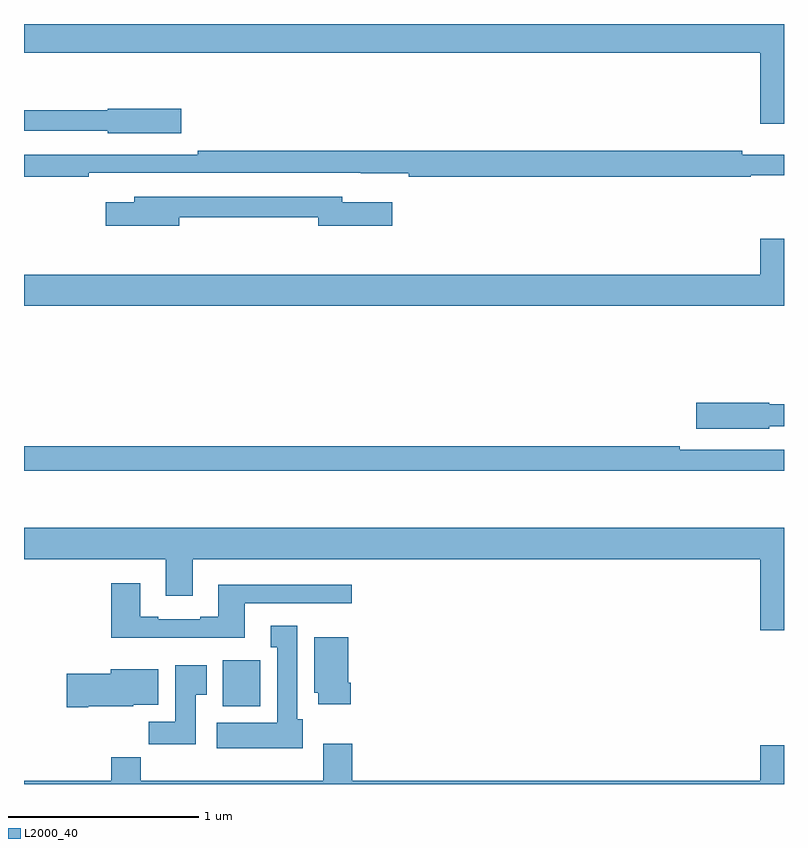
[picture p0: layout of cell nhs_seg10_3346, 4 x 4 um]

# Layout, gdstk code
import gdstk
lib = gdstk.Library(unit=1e-6, precision=1e-09)
def R(c, l, rs):  # rectangles x0, y0, x1, y1
    for r in rs: c.add(gdstk.rectangle(r[:2], r[2:], *l))
def P(c, l, *ps):  # polygons
    for p in ps: c.add(gdstk.Polygon(p, *l))
L2000_40 = (2000, 40)

nhs_seg10_3346 = lib.new_cell('nhs_seg10_3346')
R(nhs_seg10_3346, L2000_40, [(294.047,1264.91,294.244,1265.152)])
P(nhs_seg10_3346, L2000_40, [(297,1268.5),(293,1268.5),(293,1268.348),(296.876,1268.348),(296.876,1267.974),(297,1267.974)],
  [(293.827,1268.055),(293.442,1268.055),(293.442,1268.047),(293,1268.047),(293,1267.938),(293.442,1267.938),(293.442,1267.925),(293.827,1267.925)],
  [(293.342,1267.716),(294.772,1267.716),(294.772,1267.715),(295.024,1267.715),(295.024,1267.696),(296.824,1267.696),(296.824,1267.704),(297,1267.704),(297,1267.813),(296.78,1267.813),(296.78,1267.832),(293.914,1267.832),(293.914,1267.812),(293,1267.812),(293,1267.696),(293.342,1267.696)],
  [(293.818,1267.482),(294.548,1267.482),(294.548,1267.439),(294.937,1267.439),(294.937,1267.561),(294.676,1267.561),(294.676,1267.59),(293.579,1267.59),(293.579,1267.561),(293.43,1267.561),(293.43,1267.439),(293.818,1267.439)],
  [(297,1267.369),(296.876,1267.369),(296.876,1267.18),(293,1267.18),(293,1267.016),(297,1267.016)],
  [(296.922,1266.384),(297,1266.384),(297,1266.5),(296.922,1266.5),(296.922,1266.506),(296.538,1266.506),(296.538,1266.371),(296.922,1266.371)],
  [(297,1266.258),(296.45,1266.258),(296.45,1266.278),(293,1266.278),(293,1266.15),(297,1266.15)],
  [(297,1265.848),(293,1265.848),(293,1265.684),(293.747,1265.684),(293.747,1265.49),(293.887,1265.49),(293.887,1265.684),(296.876,1265.684),(296.876,1265.31),(297,1265.31)],
  [(294.163,1265.451),(294.724,1265.451),(294.724,1265.548),(294.023,1265.548),(294.023,1265.38),(293.927,1265.38),(293.927,1265.367),(293.707,1265.367),(293.707,1265.38),(293.611,1265.38),(293.611,1265.557),(293.459,1265.557),(293.459,1265.27),(294.163,1265.27)],
  [(294.466,1264.842),(294.439,1264.842),(294.439,1265.332),(294.299,1265.332),(294.299,1265.219),(294.332,1265.219),(294.332,1264.822),(294.015,1264.822),(294.015,1264.688),(294.466,1264.688)],
  [(294.719,1265.032),(294.706,1265.032),(294.706,1265.272),(294.527,1265.272),(294.527,1264.98),(294.548,1264.98),(294.548,1264.92),(294.719,1264.92)],
  [(293.905,1264.969),(293.962,1264.969),(293.962,1265.125),(293.795,1265.125),(293.795,1264.828),(293.656,1264.828),(293.656,1264.71),(293.905,1264.71)],
  [(293.338,1264.91),(293.574,1264.91),(293.574,1264.916),(293.707,1264.916),(293.707,1265.104),(293.456,1265.104),(293.456,1265.081),(293.226,1265.081),(293.226,1264.903),(293.338,1264.903)],
  [(297,1264.705),(296.876,1264.705),(296.876,1264.516),(294.728,1264.516),(294.728,1264.711),(294.575,1264.711),(294.575,1264.516),(293.615,1264.516),(293.615,1264.64),(293.459,1264.64),(293.459,1264.516),(293,1264.516),(293,1264.5),(297,1264.5)])

lib.write_gds('nhs_seg10_3346.gds')
